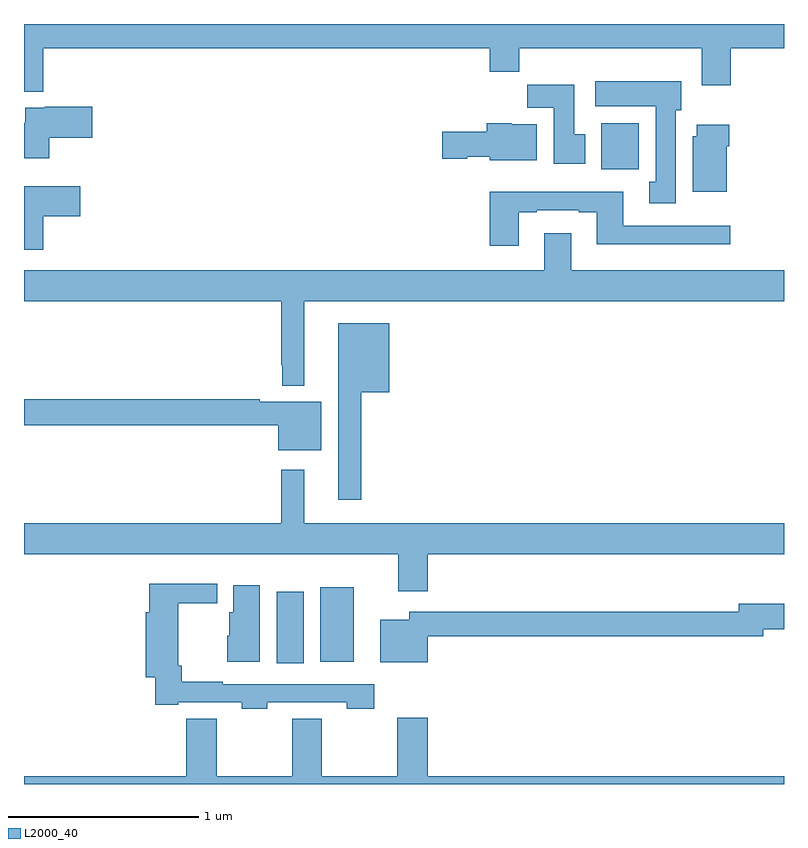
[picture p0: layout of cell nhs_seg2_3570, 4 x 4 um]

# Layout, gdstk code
import gdstk
lib = gdstk.Library(unit=1e-6, precision=1e-09)
def R(c, l, rs):  # rectangles x0, y0, x1, y1
    for r in rs: c.add(gdstk.rectangle(r[:2], r[2:], *l))
def P(c, l, *ps):  # polygons
    for p in ps: c.add(gdstk.Polygon(p, *l))
L2000_40 = (2000, 40)

nhs_seg2_3570 = lib.new_cell('nhs_seg2_3570')
R(nhs_seg2_3570, L2000_40, [(300.329,608.436,300.472,608.812), (300.56,608.444,300.736,608.836), (302.039,611.036,302.236,611.278)])
P(nhs_seg2_3570, L2000_40, [(299.1,611.672),(301.451,611.672),(301.451,611.548),(301.607,611.548),(301.607,611.672),(302.567,611.672),(302.567,611.478),(302.72,611.478),(302.72,611.672),(303,611.672),(303,611.8),(299,611.8),(299,611.444),(299.1,611.444)],
  [(302.431,611.346),(302.458,611.346),(302.458,611.5),(302.007,611.5),(302.007,611.366),(302.324,611.366),(302.324,610.97),(302.291,610.97),(302.291,610.857),(302.431,610.857)],
  [(301.954,611.22),(301.897,611.22),(301.897,611.479),(301.648,611.479),(301.648,611.36),(301.787,611.36),(301.787,611.064),(301.954,611.064)],
  [(299.134,611.201),(299.359,611.201),(299.359,611.364),(299.11,611.364),(299.11,611.359),(299.006,611.359),(299.006,611.281),(299,611.281),(299,611.093),(299.134,611.093)],
  [(301.699,611.272),(301.566,611.272),(301.566,611.278),(301.436,611.278),(301.436,611.232),(301.2,611.232),(301.2,611.09),(301.332,611.09),(301.332,611.102),(301.452,611.102),(301.452,611.084),(301.699,611.084)],
  [(302.698,611.156),(302.711,611.156),(302.711,611.269),(302.54,611.269),(302.54,611.208),(302.519,611.208),(302.519,610.916),(302.698,610.916)],
  [(299.102,610.787),(299.296,610.787),(299.296,610.945),(299,610.945),(299,610.611),(299.102,610.611)],
  [(301.603,610.809),(301.699,610.809),(301.699,610.821),(301.919,610.821),(301.919,610.809),(302.015,610.809),(302.015,610.64),(302.716,610.64),(302.716,610.737),(302.155,610.737),(302.155,610.918),(301.451,610.918),(301.451,610.632),(301.603,610.632)],
  [(300.475,610.34),(303,610.34),(303,610.504),(301.879,610.504),(301.879,610.699),(301.739,610.699),(301.739,610.504),(299,610.504),(299,610.34),(300.354,610.34),(300.354,610.003),(300.36,610.003),(300.36,609.896),(300.475,609.896)],
  [(300.775,609.863),(300.922,609.863),(300.922,610.225),(300.653,610.225),(300.653,609.297),(300.775,609.297)],
  [(300.565,609.811),(300.242,609.811),(300.242,609.824),(299,609.824),(299,609.688),(300.338,609.688),(300.338,609.557),(300.565,609.557)],
  [(300.475,609.454),(300.354,609.454),(300.354,609.172),(299,609.172),(299,609.008),(300.971,609.008),(300.971,608.814),(301.124,608.814),(301.124,609.008),(303,609.008),(303,609.172),(300.475,609.172)],
  [(300.279,608.229),(300.699,608.229),(300.699,608.197),(300.844,608.197),(300.844,608.325),(300.047,608.325),(300.047,608.338),(299.83,608.338),(299.83,608.422),(299.812,608.422),(299.812,608.752),(300.016,608.752),(300.016,608.854),(299.66,608.854),(299.66,608.703),(299.642,608.703),(299.642,608.363),(299.691,608.363),(299.691,608.217),(299.812,608.217),(299.812,608.229),(300.147,608.229),(300.147,608.197),(300.279,608.197)],
  [(300.241,608.845),(300.101,608.845),(300.101,608.703),(300.08,608.703),(300.08,608.58),(300.071,608.58),(300.071,608.444),(300.241,608.444)],
  [(301.126,608.578),(302.89,608.578),(302.89,608.615),(303,608.615),(303,608.749),(302.762,608.749),(302.762,608.707),(301.028,608.707),(301.028,608.665),(300.875,608.665),(300.875,608.441),(301.126,608.441)],
  [(303,607.84),(301.124,607.84),(301.124,608.149),(300.964,608.149),(300.964,607.84),(300.566,607.84),(300.566,608.144),(300.412,608.144),(300.412,607.84),(300.014,607.84),(300.014,608.144),(299.855,608.144),(299.855,607.84),(299,607.84),(299,607.8),(303,607.8)])

lib.write_gds('nhs_seg2_3570.gds')
